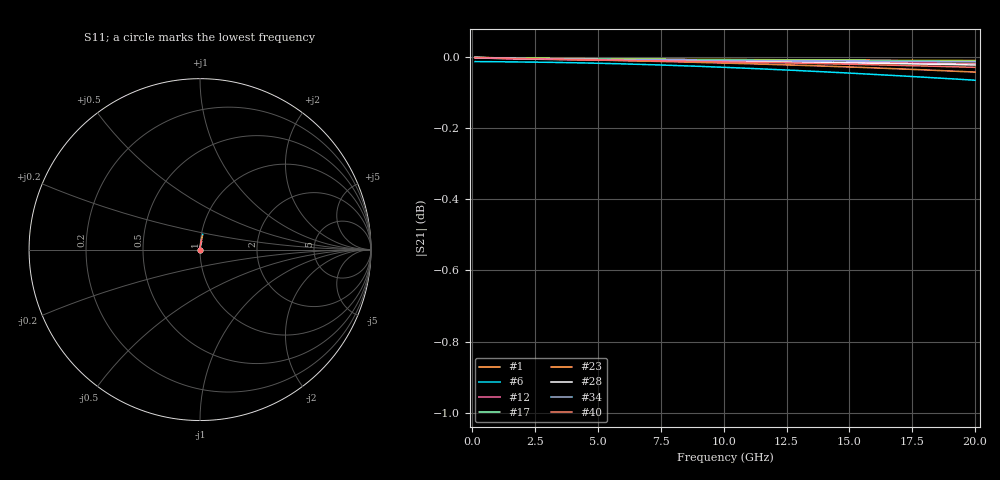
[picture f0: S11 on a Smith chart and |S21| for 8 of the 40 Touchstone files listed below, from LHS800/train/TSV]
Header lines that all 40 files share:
! Touchstone file exported from HFSS 2026.1.0
!  Design:  TSV
! Variables:
! Terminal data exported
# GHz S MA R 50.000000
Fixed: h_bsmrdl = 2um, h_ox = 20um, h_rdl = 5um, h_tmrdl = 5um, h_via = 3um, l_bsmrdl = 300um, l_tmrdl = 200um, m_sub = 200um, s_tmrdl = 10um, w_bsmrdl = 18um, w_sub = 500um, w_tmrdl = 12um, x_tsv_center1 = 206um, x_tsv_center2 = 524um, x_tsv_center3 = 736um, x_tsv_center4 = 1054um, x_tsv_center5 = 1266um, x_tsv_center6 = 1584um
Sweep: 100 MHz to 20 GHz
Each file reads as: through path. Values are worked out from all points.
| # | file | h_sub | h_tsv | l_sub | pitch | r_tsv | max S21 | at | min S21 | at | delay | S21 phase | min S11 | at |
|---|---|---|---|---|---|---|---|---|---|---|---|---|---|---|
| 1 | dut700.s2p | 92.78um | 92.78um | 427.88um | 54.32um | 13.94um | 0.00 dB | 100 MHz | 0.0 dB | 20 GHz | 1.28 ps | -5 deg at 10.1 GHz | -80.9 dB | 100 MHz |
| 2 | dut701.s2p | 63.7um | 63.7um | 406.14um | 40.35um | 3.07um | -0.01 dB | 100 MHz | -0.1 dB | 20 GHz | 1.19 ps | -4 deg at 10.1 GHz | -60.5 dB | 100 MHz |
| 3 | dut702.s2p | 53.53um | 53.53um | 404.6um | 45.55um | 2.3um | -0.01 dB | 100 MHz | -0.1 dB | 20 GHz | 1.22 ps | -4 deg at 10.1 GHz | -57.6 dB | 100 MHz |
| 4 | dut703.s2p | 89.24um | 89.24um | 415.96um | 43.45um | 7.98um | 0.00 dB | 100 MHz | 0.0 dB | 20 GHz | 1.26 ps | -5 deg at 10.1 GHz | -70.4 dB | 100 MHz |
| 5 | dut704.s2p | 83.37um | 83.37um | 410.24um | 46.69um | 5.12um | 0.00 dB | 100 MHz | -0.1 dB | 20 GHz | 1.36 ps | -5 deg at 10.1 GHz | -64.2 dB | 100 MHz |
| 6 | dut705.s2p | 61.05um | 61.05um | 404.38um | 32.12um | 2.19um | -0.01 dB | 100 MHz | -0.1 dB | 20 GHz | 1.13 ps | -4 deg at 10.1 GHz | -56.2 dB | 100 MHz |
| 7 | dut706.s2p | 86.39um | 86.39um | 419.82um | 55.79um | 9.91um | 0.00 dB | 100 MHz | 0.0 dB | 20 GHz | 1.28 ps | -5 deg at 10.1 GHz | -70.7 dB | 100 MHz |
| 8 | dut707.s2p | 81.63um | 81.63um | 414.88um | 24.96um | 7.44um | 0.00 dB | 100 MHz | 0.0 dB | 20 GHz | 1.08 ps | -4 deg at 10.1 GHz | -72.8 dB | 100 MHz |
| 9 | dut708.s2p | 60.57um | 60.57um | 408.8um | 57.88um | 4.4um | 0.00 dB | 100 MHz | -0.1 dB | 20 GHz | 1.26 ps | -5 deg at 10.1 GHz | -63.5 dB | 100 MHz |
| 10 | dut709.s2p | 91.9um | 91.9um | 424.64um | 37.95um | 12.32um | 0.00 dB | 100 MHz | 0.0 dB | 20 GHz | 1.26 ps | -5 deg at 10.1 GHz | -73.5 dB | 100 MHz |
| 11 | dut710.s2p | 57.57um | 57.57um | 414.18um | 44.64um | 7.09um | 0.00 dB | 100 MHz | 0.0 dB | 20 GHz | - | -3 deg at 10.1 GHz | -70.9 dB | 100 MHz |
| 12 | dut711.s2p | 92.14um | 92.14um | 413.96um | 26.59um | 6.98um | 0.00 dB | 100 MHz | 0.0 dB | 20 GHz | 1.19 ps | -4 deg at 10.1 GHz | -71.7 dB | 100 MHz |
| 13 | dut712.s2p | 99.75um | 99.75um | 426.42um | 46.25um | 13.21um | 0.00 dB | 100 MHz | 0.0 dB | 20 GHz | 1.35 ps | -5 deg at 10.1 GHz | -78.2 dB | 100 MHz |
| 14 | dut713.s2p | 69.58um | 69.58um | 414.06um | 56.52um | 7.03um | 0.00 dB | 100 MHz | 0.0 dB | 20 GHz | 1.19 ps | -4 deg at 10.1 GHz | -67.2 dB | 100 MHz |
| 15 | dut714.s2p | 54.81um | 54.81um | 413.46um | 45.69um | 6.73um | 0.00 dB | 100 MHz | 0.0 dB | 20 GHz | - | -3 deg at 10.1 GHz | -70.2 dB | 100 MHz |
| 16 | dut715.s2p | 97.13um | 97.13um | 409.46um | 39.46um | 4.73um | 0.00 dB | 100 MHz | -0.1 dB | 20 GHz | 1.47 ps | -5 deg at 10.1 GHz | -63.1 dB | 100 MHz |
| 17 | dut716.s2p | 82.83um | 82.83um | 420.08um | 41.93um | 10.04um | 0.00 dB | 100 MHz | 0.0 dB | 20 GHz | 1.14 ps | -4 deg at 10.1 GHz | -76.7 dB | 100 MHz |
| 18 | dut717.s2p | 97.81um | 97.81um | 413.14um | 59.98um | 6.57um | 0.00 dB | 100 MHz | -0.1 dB | 20 GHz | 1.62 ps | -6 deg at 10.1 GHz | -64.0 dB | 100 MHz |
| 19 | dut718.s2p | 65.09um | 65.09um | 422.36um | 59.13um | 11.18um | 0.00 dB | 100 MHz | 0.0 dB | 20 GHz | 1.02 ps | -4 deg at 10.1 GHz | -73.5 dB | 100 MHz |
| 20 | dut719.s2p | 89.41um | 89.41um | 418.9um | 23.63um | 9.45um | 0.00 dB | 100 MHz | -0.1 dB | 20 GHz | 1.39 ps | -5 deg at 10.1 GHz | -66.7 dB | 100 MHz |
| 21 | dut720.s2p | 72.73um | 72.73um | 408.38um | 12.57um | 4.19um | 0.00 dB | 100 MHz | 0.0 dB | 20 GHz | - | -4 deg at 10.1 GHz | -65.5 dB | 100 MHz |
| 22 | dut721.s2p | 51.48um | 51.48um | 409.42um | 11.26um | 4.71um | 0.00 dB | 100 MHz | 0.0 dB | 20 GHz | - | -3 deg at 10.1 GHz | -67.7 dB | 100 MHz |
| 23 | dut722.s2p | 72.42um | 72.42um | 413.18um | 58.69um | 6.59um | 0.00 dB | 100 MHz | 0.0 dB | 20 GHz | 1.28 ps | -5 deg at 10.1 GHz | -66.0 dB | 100 MHz |
| 24 | dut723.s2p | 64.2um | 64.2um | 426.4um | 43.33um | 13.2um | 0.00 dB | 100 MHz | 0.0 dB | 20 GHz | - | -3 deg at 10.1 GHz | -79.0 dB | 100 MHz |
| 25 | dut724.s2p | 86.61um | 86.61um | 422.64um | 36.03um | 11.32um | 0.00 dB | 100 MHz | 0.0 dB | 20 GHz | 1.18 ps | -4 deg at 10.1 GHz | -74.8 dB | 100 MHz |
| 26 | dut725.s2p | 97.27um | 97.27um | 429.92um | 57.16um | 14.96um | 0.00 dB | 100 MHz | 0.0 dB | 20 GHz | 1.34 ps | -5 deg at 10.1 GHz | -81.7 dB | 100 MHz |
| 27 | dut726.s2p | 54.82um | 54.82um | 429um | 34.16um | 14.5um | 0.00 dB | 100 MHz | 0.0 dB | 20 GHz | - | -4 deg at 10.1 GHz | -68.3 dB | 100 MHz |
| 28 | dut727.s2p | 98.4um | 98.4um | 419.9um | 56.12um | 9.95um | 0.00 dB | 100 MHz | 0.0 dB | 20 GHz | 1.43 ps | -5 deg at 10.1 GHz | -69.9 dB | 100 MHz |
| 29 | dut728.s2p | 86.65um | 86.65um | 410.68um | 39.25um | 5.34um | 0.00 dB | 100 MHz | 0.0 dB | 20 GHz | 1.3 ps | -5 deg at 10.1 GHz | -65.5 dB | 100 MHz |
| 30 | dut729.s2p | 81.23um | 81.23um | 427.84um | 53.14um | 13.92um | 0.00 dB | 100 MHz | 0.0 dB | 20 GHz | 1.14 ps | -4 deg at 10.1 GHz | -81.9 dB | 100 MHz |
| 31 | dut730.s2p | 56.27um | 56.27um | 426.32um | 36.97um | 13.16um | 0.00 dB | 100 MHz | 0.0 dB | 20 GHz | - | -3 deg at 10.1 GHz | -74.2 dB | 100 MHz |
| 32 | dut731.s2p | 84.99um | 84.99um | 405.42um | 41.66um | 2.71um | -0.01 dB | 100 MHz | -0.1 dB | 20 GHz | 1.56 ps | -6 deg at 10.1 GHz | -56.5 dB | 100 MHz |
| 33 | dut732.s2p | 63.44um | 63.44um | 406.62um | 55.59um | 3.31um | -0.01 dB | 100 MHz | -0.1 dB | 20 GHz | 1.38 ps | -5 deg at 10.1 GHz | -60.6 dB | 100 MHz |
| 34 | dut733.s2p | 96.94um | 96.94um | 420.82um | 41.64um | 10.41um | 0.00 dB | 100 MHz | 0.0 dB | 20 GHz | 1.3 ps | -5 deg at 10.1 GHz | -76.7 dB | 100 MHz |
| 35 | dut734.s2p | 88.85um | 88.85um | 414.54um | 26.34um | 7.27um | 0.00 dB | 100 MHz | 0.0 dB | 20 GHz | 1.16 ps | -4 deg at 10.1 GHz | -72.4 dB | 100 MHz |
| 36 | dut735.s2p | 77.69um | 77.69um | 415.42um | 17.37um | 7.71um | 0.00 dB | 100 MHz | -0.1 dB | 20 GHz | 1.47 ps | -5 deg at 10.1 GHz | -64.0 dB | 100 MHz |
| 37 | dut736.s2p | 69.16um | 69.16um | 413.8um | 18.89um | 6.9um | 0.00 dB | 100 MHz | 0.0 dB | 20 GHz | - | -4 deg at 10.1 GHz | -70.3 dB | 100 MHz |
| 38 | dut737.s2p | 74.48um | 74.48um | 418.92um | 58.57um | 9.46um | 0.00 dB | 100 MHz | 0.0 dB | 20 GHz | 1.18 ps | -4 deg at 10.1 GHz | -70.1 dB | 100 MHz |
| 39 | dut738.s2p | 99.13um | 99.13um | 424.2um | 49.48um | 12.1um | 0.00 dB | 100 MHz | 0.0 dB | 20 GHz | 1.35 ps | -5 deg at 10.1 GHz | -77.9 dB | 100 MHz |
| 40 | dut739.s2p | 69.97um | 69.97um | 413.04um | 48.4um | 6.52um | 0.00 dB | 100 MHz | 0.0 dB | 20 GHz | 1.13 ps | -4 deg at 10.1 GHz | -67.8 dB | 100 MHz |
